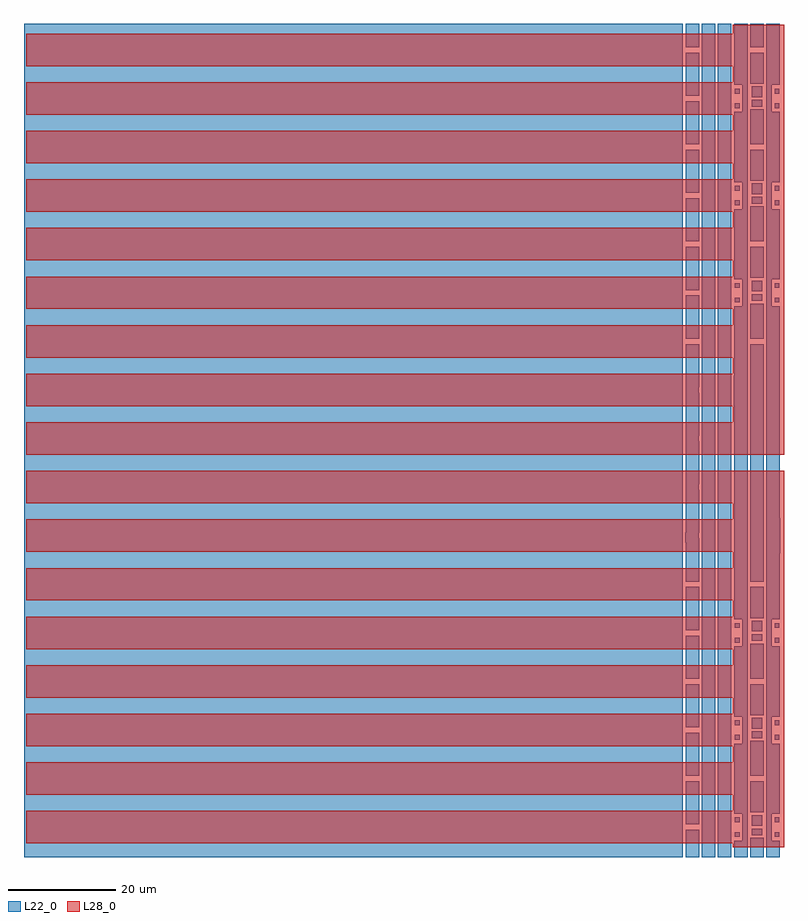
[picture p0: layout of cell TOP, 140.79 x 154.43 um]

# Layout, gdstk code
import gdstk
lib = gdstk.Library(unit=1e-6, precision=1e-09)
def R(c, l, rs):  # rectangles x0, y0, x1, y1
    for r in rs: c.add(gdstk.rectangle(r[:2], r[2:], *l))
def A(c, l, x, y, w, h, nx, ny, dx, dy):  # array of equal rectangles
    R(c, l, [(x+i*dx, y+j*dy, x+i*dx+w, y+j*dy+h) for i in range(nx) for j in range(ny)])
def P(c, l, *ps):  # polygons
    for p in ps: c.add(gdstk.Polygon(p, *l))
L22_0 = (22, 0)
L28_0 = (28, 0)

top = lib.new_cell('TOP')
A(top, L22_0, -666.56, 68.581, 2, 1.25, 1, 3, 0, 18)
A(top, L22_0, -666.01, 68.681, 0.9, 0.9, 1, 3, 0, 18)
A(top, L22_0, -801.362, 70.081, 16.102, 9, 1, 16, 0, 9)
A(top, L22_0, -785.26, 70.081, 100, 9, 1, 16, 0, 9)
A(top, L22_0, -666.56, 70.331, 2, 2, 1, 3, 0, 18)
A(top, L22_0, -678.81, 70.581, 2.5, 8, 1, 5, 0, 9)
A(top, L22_0, -666.06, 71.231, 0.9, 0.9, 1, 3, 0, 18)
A(top, L22_0, -666.81, 72.831, 2.5, 5.75, 1, 3, 0, 18)
A(top, L22_0, -685.26, 79.081, 5.95, 18, 1, 3, 0, 18)
A(top, L22_0, -675.81, 79.081, 2.5, 18, 1, 3, 0, 18)
A(top, L22_0, -672.81, 79.081, 2.5, 18, 1, 3, 0, 18)
A(top, L22_0, -675.81, 133.081, 2.5, 9, 3, 1, 3, 0)
A(top, L22_0, -666.01, 135.931, 0.9, 0.9, 1, 3, 0, 1.2)
A(top, L22_0, -685.26, 142.081, 5.95, 18, 1, 4, 0, 18)
A(top, L22_0, -675.81, 142.081, 2.5, 18, 1, 4, 0, 18)
A(top, L22_0, -672.81, 142.081, 2.5, 18, 1, 4, 0, 18)
A(top, L22_0, -678.81, 160.581, 2.5, 8, 1, 6, 0, 9)
A(top, L22_0, -666.81, 160.581, 2.5, 6.5, 1, 3, 0, 18)
A(top, L22_0, -666.56, 167.581, 2, 1.25, 1, 3, 0, 18)
A(top, L22_0, -666.01, 167.681, 0.9, 0.9, 1, 3, 0, 18)
A(top, L22_0, -666.56, 169.331, 2, 2, 1, 3, 0, 18)
A(top, L22_0, -666.06, 170.231, 0.9, 0.9, 1, 3, 0, 18)
A(top, L22_0, -666.81, 171.831, 2.5, 5.75, 1, 3, 0, 18)
A(top, L22_0, -675.81, 214.081, 2.5, 4.846, 3, 1, 3, 0)
R(top, L22_0, [(-801.362,64.501,-785.26,70.081), (-785.26,64.501,-685.26,70.081), (-685.26,64.501,-679.31,79.081), (-678.81,64.501,-676.31,69.581), (-675.81,64.501,-673.31,79.081), (-672.81,64.501,-670.31,79.081), (-666.81,64.501,-664.31,68.081), (-669.71,68.281,-668.81,69.181), (-662.31,68.281,-661.41,69.181), (-669.71,70.981,-668.81,71.881), (-662.31,70.981,-661.41,71.881), (-678.81,72.381,-677.91,73.281), (-678.81,73.581,-677.91,74.481), (-665.56,75.981,-664.66,76.881), (-665.56,77.181,-664.66,78.081), (-677.41,79.581,-676.51,80.481), (-666.81,79.581,-664.31,86.081), (-666.51,80.081,-665.61,80.981), (-677.41,80.781,-676.51,81.681), (-666.51,81.281,-665.61,82.181), (-669.71,86.281,-668.81,87.181), (-662.31,86.281,-661.41,87.181), (-669.71,88.981,-668.81,89.881), (-662.31,88.981,-661.41,89.881), (-678.81,90.381,-677.91,91.281), (-678.81,91.581,-677.91,92.481), (-665.56,93.981,-664.66,94.881), (-665.56,95.181,-664.66,96.081), (-677.41,97.581,-676.51,98.481), (-666.81,97.581,-664.31,104.081), (-666.51,98.081,-665.61,98.981), (-677.41,98.781,-676.51,99.681), (-666.51,99.281,-665.61,100.181), (-669.71,104.281,-668.81,105.181), (-662.31,104.281,-661.41,105.181), (-669.71,106.981,-668.81,107.881), (-662.31,106.981,-661.41,107.881), (-678.81,108.381,-677.91,109.281), (-678.81,109.581,-677.91,110.481), (-665.56,111.981,-664.66,112.881), (-665.56,113.181,-664.66,114.081), (-677.41,115.581,-676.51,116.481), (-666.51,116.081,-665.61,116.981), (-677.41,116.781,-676.51,117.681), (-666.51,117.281,-665.61,118.181), (-678.81,126.381,-677.91,127.281), (-678.81,127.581,-677.91,128.481), (-665.56,129.981,-664.66,130.881), (-685.26,133.081,-679.31,142.081), (-663.81,133.081,-661.31,142.081), (-678.81,134.781,-677.91,135.681), (-666.51,143.081,-665.61,143.981), (-677.41,143.781,-676.51,144.681), (-666.51,144.281,-665.61,145.181), (-678.81,153.381,-677.91,154.281), (-678.81,154.581,-677.91,155.481), (-665.56,156.981,-664.66,157.881), (-665.56,158.181,-664.66,159.081), (-677.41,160.581,-676.51,161.481), (-666.51,161.081,-665.61,161.981), (-677.41,161.781,-676.51,162.681), (-666.51,162.281,-665.61,163.181), (-669.71,167.281,-668.81,168.181), (-662.31,167.281,-661.41,168.181), (-669.71,169.981,-668.81,170.881), (-662.31,169.981,-661.41,170.881), (-678.81,171.381,-677.91,172.281), (-678.81,172.581,-677.91,173.481), (-665.56,174.981,-664.66,175.881), (-665.56,176.181,-664.66,177.081), (-677.41,178.581,-676.51,179.481), (-666.51,179.081,-665.61,179.981), (-677.41,179.781,-676.51,180.681), (-666.51,180.281,-665.61,181.181), (-669.71,185.281,-668.81,186.181), (-662.31,185.281,-661.41,186.181), (-669.71,187.981,-668.81,188.881), (-662.31,187.981,-661.41,188.881), (-678.81,189.381,-677.91,190.281), (-678.81,190.581,-677.91,191.481), (-665.56,192.981,-664.66,193.881), (-665.56,194.181,-664.66,195.081), (-677.41,196.581,-676.51,197.481), (-666.51,197.081,-665.61,197.981), (-677.41,197.781,-676.51,198.681), (-666.51,198.281,-665.61,199.181), (-669.71,203.281,-668.81,204.181), (-662.31,203.281,-661.41,204.181), (-669.71,205.981,-668.81,206.881), (-662.31,205.981,-661.41,206.881), (-678.81,207.381,-677.91,208.281), (-678.81,208.581,-677.91,209.481), (-665.56,210.981,-664.66,211.881), (-665.56,212.181,-664.66,213.081), (-801.362,214.081,-785.26,218.927), (-785.26,214.081,-685.26,218.927), (-685.26,214.081,-679.31,218.927), (-663.81,214.081,-661.31,218.927), (-678.81,214.581,-676.31,218.927), (-677.41,214.581,-676.51,215.481), (-666.81,214.581,-664.31,218.927), (-666.51,215.081,-665.61,215.981), (-677.41,215.781,-676.51,216.681), (-666.51,216.281,-665.61,217.181)])
P(top, L22_0, [(-666.81,115.581),(-666.81,121.941),(-666.826,121.941),(-666.826,126.872),(-666.81,126.872),(-666.81,132.581),(-666.791,132.581),(-666.791,133.081),(-666.81,133.081),(-666.81,141.05),(-666.836,141.05),(-666.836,142.699),(-666.81,142.699),(-666.81,148.318),(-666.836,148.318),(-666.836,153.903),(-666.81,153.903),(-666.81,159.581),(-664.31,159.581),(-664.31,153.831),(-664.313,153.831),(-664.313,149.081),(-664.31,149.081),(-664.31,142.699),(-664.279,142.699),(-664.279,141.05),(-664.31,141.05),(-664.31,133.081),(-664.312,133.081),(-664.312,133.076),(-664.279,133.076),(-664.279,132.033),(-664.31,132.033),(-664.31,126.872),(-664.285,126.872),(-664.285,121.941),(-664.31,121.941),(-664.31,115.581)],
  [(-663.81,142.081),(-663.81,160.081),(-661.31,160.081),(-661.31,153.581),(-661.333,153.581),(-661.333,148.581),(-661.31,148.581),(-661.31,142.081)],
  [(-663.81,115.081),(-663.81,133.081),(-661.31,133.081),(-661.31,127.266),(-661.303,127.266),(-661.303,120.835),(-661.31,120.835),(-661.31,115.081)],
  [(-678.81,115.581),(-678.81,122.845),(-678.863,122.845),(-678.863,124.632),(-678.81,124.632),(-678.81,132.581),(-678.781,132.581),(-678.781,133.581),(-678.81,133.581),(-678.81,141.581),(-678.781,141.581),(-678.781,142.581),(-678.81,142.581),(-678.81,150.581),(-678.747,150.581),(-678.747,151.581),(-678.81,151.581),(-678.81,159.581),(-676.31,159.581),(-676.31,151.581),(-676.358,151.581),(-676.358,150.581),(-676.31,150.581),(-676.31,142.581),(-676.358,142.581),(-676.358,141.581),(-676.31,141.581),(-676.31,133.581),(-676.325,133.581),(-676.325,132.581),(-676.31,132.581),(-676.31,124.581),(-676.322,124.581),(-676.322,123.581),(-676.31,123.581),(-676.31,115.581)],
  [(-669.81,142.081),(-669.81,148.15),(-669.831,148.15),(-669.831,153.668),(-669.81,153.668),(-669.81,160.081),(-667.31,160.081),(-667.31,142.081)],
  [(-669.81,115.081),(-669.81,120.993),(-669.819,120.993),(-669.819,126.57),(-669.647,126.57),(-669.647,126.581),(-669.81,126.581),(-669.81,133.081),(-667.31,133.081),(-667.31,115.081)],
  [(-669.81,64.501),(-669.81,67.581),(-668.31,67.581),(-668.31,70.081),(-667.31,70.081),(-667.31,64.501)],
  [(-663.81,64.501),(-663.81,70.081),(-662.81,70.081),(-662.81,67.581),(-661.31,67.581),(-661.31,64.501)],
  [(-668.31,70.081),(-668.31,72.581),(-669.81,72.581),(-669.81,79.081),(-667.31,79.081),(-667.31,70.081)],
  [(-663.81,70.081),(-663.81,79.081),(-661.31,79.081),(-661.31,72.581),(-662.81,72.581),(-662.81,70.081)],
  [(-669.81,79.081),(-669.81,85.581),(-668.31,85.581),(-668.31,88.081),(-667.31,88.081),(-667.31,79.081)],
  [(-663.81,79.081),(-663.81,88.081),(-662.81,88.081),(-662.81,85.581),(-661.31,85.581),(-661.31,79.081)],
  [(-668.31,88.081),(-668.31,90.581),(-669.81,90.581),(-669.81,97.081),(-667.31,97.081),(-667.31,88.081)],
  [(-663.81,88.081),(-663.81,97.081),(-661.31,97.081),(-661.31,90.581),(-662.81,90.581),(-662.81,88.081)],
  [(-669.81,97.081),(-669.81,103.581),(-668.31,103.581),(-668.31,106.081),(-667.31,106.081),(-667.31,97.081)],
  [(-663.81,97.081),(-663.81,106.081),(-662.81,106.081),(-662.81,103.581),(-661.31,103.581),(-661.31,97.081)],
  [(-668.31,106.081),(-668.31,108.581),(-669.81,108.581),(-669.81,115.081),(-667.31,115.081),(-667.31,106.081)],
  [(-663.81,106.081),(-663.81,115.081),(-661.31,115.081),(-661.31,108.581),(-662.81,108.581),(-662.81,106.081)],
  [(-669.81,160.081),(-669.81,166.581),(-668.31,166.581),(-668.31,169.081),(-667.31,169.081),(-667.31,160.081)],
  [(-663.81,160.081),(-663.81,169.081),(-662.81,169.081),(-662.81,166.581),(-661.31,166.581),(-661.31,160.081)],
  [(-668.31,169.081),(-668.31,171.581),(-669.81,171.581),(-669.81,178.081),(-667.31,178.081),(-667.31,169.081)],
  [(-663.81,169.081),(-663.81,178.081),(-661.31,178.081),(-661.31,171.581),(-662.81,171.581),(-662.81,169.081)],
  [(-669.81,178.081),(-669.81,184.581),(-668.31,184.581),(-668.31,187.081),(-667.31,187.081),(-667.31,178.081)],
  [(-663.81,178.081),(-663.81,187.081),(-662.81,187.081),(-662.81,184.581),(-661.31,184.581),(-661.31,178.081)],
  [(-668.31,187.081),(-668.31,189.581),(-669.81,189.581),(-669.81,196.081),(-667.31,196.081),(-667.31,187.081)],
  [(-663.81,187.081),(-663.81,196.081),(-661.31,196.081),(-661.31,189.581),(-662.81,189.581),(-662.81,187.081)],
  [(-669.81,196.081),(-669.81,202.581),(-668.31,202.581),(-668.31,205.081),(-667.31,205.081),(-667.31,196.081)],
  [(-663.81,196.081),(-663.81,205.081),(-662.81,205.081),(-662.81,202.581),(-661.31,202.581),(-661.31,196.081)],
  [(-668.31,205.081),(-668.31,207.581),(-669.81,207.581),(-669.81,214.081),(-667.31,214.081),(-667.31,205.081)],
  [(-663.81,205.081),(-663.81,214.081),(-661.31,214.081),(-661.31,207.581),(-662.81,207.581),(-662.81,205.081)])
A(top, L28_0, -685.26, 67.081, 6.2, 6, 1, 4, 0, 18)
A(top, L28_0, -679.06, 67.081, 9, 6, 1, 4, 0, 18)
A(top, L28_0, -670.06, 79.081, 9, 18, 1, 3, 0, 18)
A(top, L28_0, -661.06, 79.081, 0.492, 18, 1, 3, 0, 18)
A(top, L28_0, -670.06, 142.081, 9, 18, 1, 4, 0, 18)
A(top, L28_0, -661.06, 142.081, 0.492, 18, 1, 4, 0, 18)
A(top, L28_0, -685.26, 148.081, 6.2, 6, 1, 4, 0, 18)
A(top, L28_0, -679.06, 148.081, 9, 6, 1, 4, 0, 18)
R(top, L28_0, [(-670.06,66.337,-661.06,79.081), (-661.06,66.337,-660.568,79.081), (-800.931,67.081,-785.26,70.081), (-785.26,67.081,-685.26,70.081), (-800.931,70.081,-785.26,73.081), (-785.26,70.081,-685.26,73.081), (-800.931,76.081,-785.26,79.081), (-785.26,76.081,-685.26,79.081), (-685.26,76.081,-679.06,79.081), (-679.06,76.081,-670.06,79.081), (-800.931,79.081,-785.26,82.081), (-785.26,79.081,-685.26,82.081), (-685.26,79.081,-679.06,82.081), (-679.06,79.081,-670.06,82.081), (-800.931,85.081,-785.26,88.081), (-785.26,85.081,-685.26,88.081), (-800.931,88.081,-785.26,91.081), (-785.26,88.081,-685.26,91.081), (-800.931,94.081,-785.26,97.081), (-785.26,94.081,-685.26,97.081), (-685.26,94.081,-679.06,97.081), (-679.06,94.081,-670.06,97.081), (-800.931,97.081,-785.26,100.081), (-785.26,97.081,-685.26,100.081), (-685.26,97.081,-679.06,100.081), (-679.06,97.081,-670.06,100.081), (-800.931,103.081,-785.26,106.081), (-785.26,103.081,-685.26,106.081), (-800.931,106.081,-785.26,109.081), (-785.26,106.081,-685.26,109.081), (-800.931,112.081,-785.26,115.081), (-785.26,112.081,-685.26,115.081), (-685.26,112.081,-679.06,115.081), (-679.06,112.081,-670.06,115.081), (-800.931,115.081,-785.26,118.081), (-785.26,115.081,-685.26,118.081), (-685.26,115.081,-679.06,118.081), (-679.06,115.081,-670.06,118.081), (-800.931,121.081,-785.26,124.081), (-785.26,121.081,-685.26,124.081), (-800.931,124.081,-785.26,127.081), (-785.26,124.081,-685.26,127.081), (-800.931,130.081,-785.26,133.081), (-785.26,130.081,-685.26,133.081), (-685.26,130.081,-679.06,133.081), (-679.06,130.081,-670.06,133.081), (-800.931,133.081,-785.26,136.081), (-785.26,133.081,-685.26,136.081), (-685.26,133.081,-670.06,136.081), (-670.06,133.081,-661.06,136.081), (-661.06,133.081,-660.568,136.081), (-800.931,139.081,-785.26,142.081), (-785.26,139.081,-685.26,142.081), (-685.26,139.081,-670.06,142.081), (-670.06,139.081,-661.06,142.081), (-661.06,139.081,-660.568,142.081), (-800.931,142.081,-785.26,145.081), (-785.26,142.081,-685.26,145.081), (-685.26,142.081,-679.06,145.081), (-679.06,142.081,-670.06,145.081), (-800.931,148.081,-785.26,151.081), (-785.26,148.081,-685.26,151.081), (-800.931,151.081,-785.26,154.081), (-785.26,151.081,-685.26,154.081), (-800.931,157.081,-785.26,160.081), (-785.26,157.081,-685.26,160.081), (-685.26,157.081,-679.06,160.081), (-679.06,157.081,-670.06,160.081), (-800.931,160.081,-785.26,163.081), (-785.26,160.081,-685.26,163.081), (-685.26,160.081,-679.06,163.081), (-679.06,160.081,-670.06,163.081), (-800.931,166.081,-785.26,169.081), (-785.26,166.081,-685.26,169.081), (-800.931,169.081,-785.26,172.081), (-785.26,169.081,-685.26,172.081), (-800.931,175.081,-785.26,178.081), (-785.26,175.081,-685.26,178.081), (-685.26,175.081,-679.06,178.081), (-679.06,175.081,-670.06,178.081), (-800.931,178.081,-785.26,181.081), (-785.26,178.081,-685.26,181.081), (-685.26,178.081,-679.06,181.081), (-679.06,178.081,-670.06,181.081), (-800.931,184.081,-785.26,187.081), (-785.26,184.081,-685.26,187.081), (-800.931,187.081,-785.26,190.081), (-785.26,187.081,-685.26,190.081), (-800.931,193.081,-785.26,196.081), (-785.26,193.081,-685.26,196.081), (-685.26,193.081,-679.06,196.081), (-679.06,193.081,-670.06,196.081), (-800.931,196.081,-785.26,199.081), (-785.26,196.081,-685.26,199.081), (-685.26,196.081,-679.06,199.081), (-679.06,196.081,-670.06,199.081), (-800.931,202.081,-785.26,205.081), (-785.26,202.081,-685.26,205.081), (-800.931,205.081,-785.26,208.081), (-785.26,205.081,-685.26,208.081), (-800.931,211.081,-785.26,214.081), (-785.26,211.081,-685.26,214.081), (-685.26,211.081,-679.06,214.081), (-679.06,211.081,-670.06,214.081), (-800.931,214.081,-785.26,217.081), (-785.26,214.081,-685.26,217.081), (-685.26,214.081,-679.06,217.081), (-679.06,214.081,-670.06,217.081), (-670.06,214.081,-661.06,218.732), (-661.06,214.081,-660.568,218.732)])

lib.write_gds('TOP.gds')
